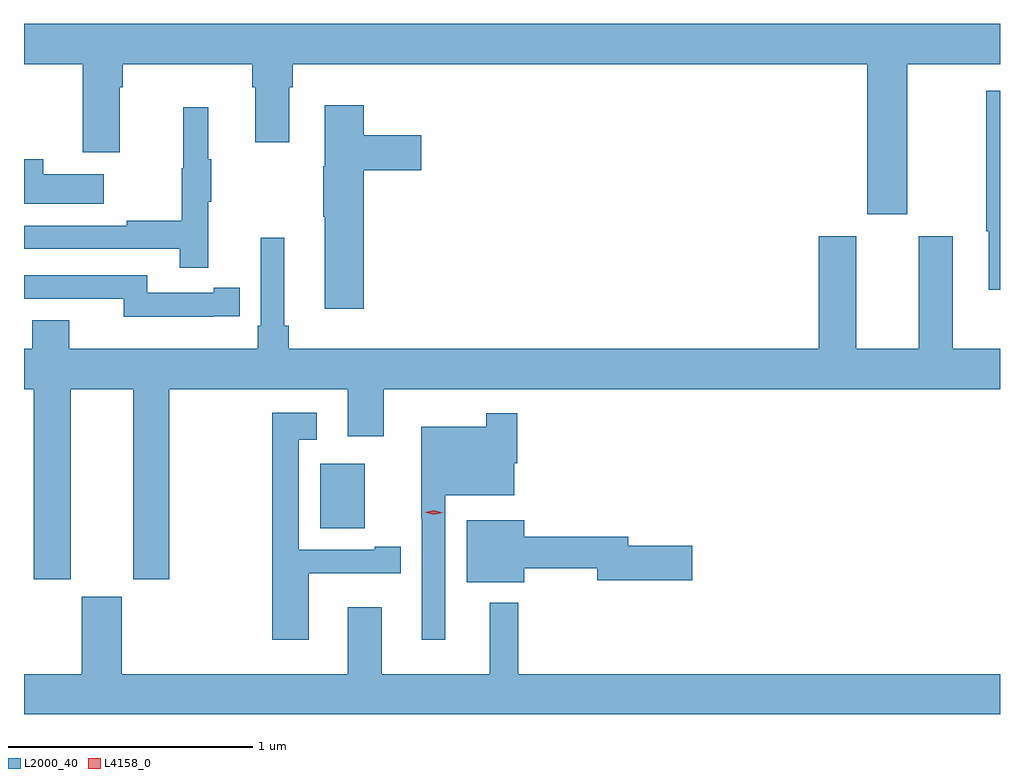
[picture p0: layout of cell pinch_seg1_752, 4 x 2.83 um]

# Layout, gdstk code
import gdstk
lib = gdstk.Library(unit=1e-6, precision=1e-09)
def R(c, l, rs):  # rectangles x0, y0, x1, y1
    for r in rs: c.add(gdstk.rectangle(r[:2], r[2:], *l))
def P(c, l, *ps):  # polygons
    for p in ps: c.add(gdstk.Polygon(p, *l))
L2000_40 = (2000, 40)
L4158_0 = (4158, 0)

pinch_seg1_752 = lib.new_cell('pinch_seg1_752')
R(pinch_seg1_752, L2000_40, [(855.518,521.858,855.7,522.121)])
P(pinch_seg1_752, L2000_40, [(857.923,523.76),(858.303,523.76),(858.303,523.924),(854.303,523.924),(854.303,523.76),(854.543,523.76),(854.543,523.398),(854.695,523.398),(854.695,523.664),(854.708,523.664),(854.708,523.76),(855.239,523.76),(855.239,523.664),(855.251,523.664),(855.251,523.44),(855.391,523.44),(855.391,523.664),(855.404,523.664),(855.404,523.76),(857.759,523.76),(857.759,523.145),(857.923,523.145)],
  [(858.303,523.651),(858.246,523.651),(858.246,523.074),(858.257,523.074),(858.257,522.834),(858.303,522.834)],
  [(855.695,523.325),(855.931,523.325),(855.931,523.467),(855.695,523.467),(855.695,523.591),(855.536,523.591),(855.536,523.341),(855.529,523.341),(855.529,523.135),(855.536,523.135),(855.536,522.756),(855.695,522.756)],
  [(855.059,523.195),(855.07,523.195),(855.07,523.369),(855.059,523.369),(855.059,523.582),(854.956,523.582),(854.956,523.332),(854.949,523.332),(854.949,523.118),(854.725,523.118),(854.725,523.098),(854.303,523.098),(854.303,523.002),(854.941,523.002),(854.941,522.924),(855.059,522.924)],
  [(854.629,523.309),(854.381,523.309),(854.381,523.369),(854.303,523.369),(854.303,523.187),(854.629,523.187)],
  [(854.494,522.428),(854.75,522.428),(854.75,521.649),(854.898,521.649),(854.898,522.428),(855.629,522.428),(855.629,522.234),(855.778,522.234),(855.778,522.428),(858.303,522.428),(858.303,522.592),(858.109,522.592),(858.109,523.054),(857.969,523.054),(857.969,522.592),(857.713,522.592),(857.713,523.054),(857.561,523.054),(857.561,522.592),(855.389,522.592),(855.389,522.688),(855.37,522.688),(855.37,523.048),(855.273,523.048),(855.273,522.688),(855.26,522.688),(855.26,522.592),(854.488,522.592),(854.488,522.709),(854.336,522.709),(854.336,522.592),(854.303,522.592),(854.303,522.428),(854.342,522.428),(854.342,521.649),(854.494,521.649)],
  [(855.08,522.726),(855.188,522.726),(855.188,522.842),(855.08,522.842),(855.08,522.822),(854.808,522.822),(854.808,522.894),(854.303,522.894),(854.303,522.798),(854.712,522.798),(854.712,522.725),(855.08,522.725)],
  [(855.469,521.672),(855.848,521.672),(855.848,521.782),(855.74,521.782),(855.74,521.769),(855.429,521.769),(855.429,522.221),(855.502,522.221),(855.502,522.331),(855.321,522.331),(855.321,521.666),(855.32,521.666),(855.32,521.4),(855.469,521.4)],
  [(856.029,521.993),(856.312,521.993),(856.312,522.123),(856.325,522.123),(856.325,522.328),(856.197,522.328),(856.197,522.274),(855.931,522.274),(855.931,521.897),(855.933,521.897),(855.933,521.4),(856.029,521.4)],
  [(856.354,521.694),(856.652,521.694),(856.652,521.644),(857.041,521.644),(857.041,521.786),(856.78,521.786),(856.78,521.822),(856.354,521.822),(856.354,521.89),(856.118,521.89),(856.118,521.636),(856.354,521.636)],
  [(858.303,521.26),(856.328,521.26),(856.328,521.551),(856.211,521.551),(856.211,521.26),(855.769,521.26),(855.769,521.533),(855.629,521.533),(855.629,521.26),(854.704,521.26),(854.704,521.577),(854.54,521.577),(854.54,521.26),(854.303,521.26),(854.303,521.096),(858.303,521.096)])
P(pinch_seg1_752, L4158_0, [(855.983,521.912),(855.947,521.922),(855.947,521.923),(855.947,521.923),(855.983,521.932),(856.019,521.921),(856.019,521.921),(856.019,521.921)])

lib.write_gds('pinch_seg1_752.gds')
